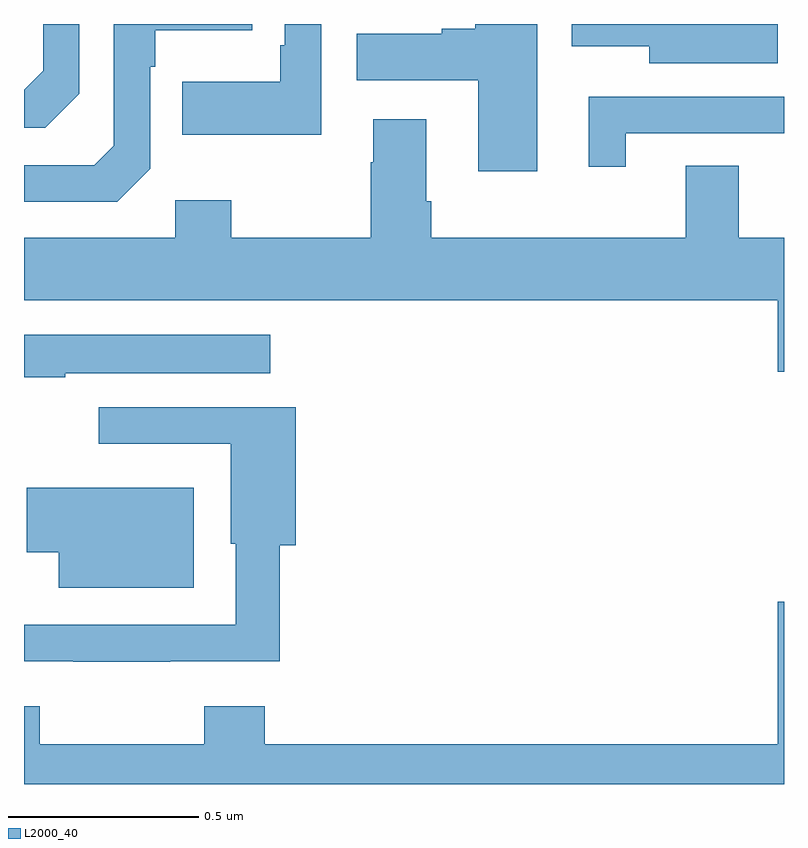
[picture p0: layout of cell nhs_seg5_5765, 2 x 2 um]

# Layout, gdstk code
import gdstk
lib = gdstk.Library(unit=1e-6, precision=1e-09)
def P(c, l, *ps):  # polygons
    for p in ps: c.add(gdstk.Polygon(p, *l))
L2000_40 = (2000, 40)

nhs_seg5_5765 = lib.new_cell('nhs_seg5_5765')
P(nhs_seg5_5765, L2000_40, [(188.983,878.799),(188.442,878.799),(188.442,878.741),(188.645,878.741),(188.645,878.696),(188.983,878.696)],
  [(187.782,878.799),(187.686,878.799),(187.686,878.743),(187.674,878.743),(187.674,878.647),(187.417,878.647),(187.417,878.507),(187.782,878.507)],
  [(188.35,878.799),(188.188,878.799),(188.188,878.786),(188.099,878.786),(188.099,878.773),(187.875,878.773),(187.875,878.651),(188.195,878.651),(188.195,878.412),(188.35,878.412)],
  [(187.332,878.418),(187.332,878.687),(187.345,878.687),(187.345,878.783),(187.601,878.783),(187.601,878.799),(187.236,878.799),(187.236,878.478),(187.185,878.427),(187,878.427),(187,878.331),(187.245,878.331)],
  [(187.146,878.616),(187.146,878.799),(187.05,878.799),(187.05,878.676),(187,878.626),(187,878.526),(187.056,878.526)],
  [(188.584,878.511),(189,878.511),(189,878.607),(188.486,878.607),(188.486,878.424),(188.584,878.424)],
  [(189,878.236),(188.881,878.236),(188.881,878.426),(188.741,878.426),(188.741,878.236),(188.072,878.236),(188.072,878.332),(188.059,878.332),(188.059,878.548),(187.919,878.548),(187.919,878.435),(187.912,878.435),(187.912,878.236),(187.545,878.236),(187.545,878.335),(187.398,878.335),(187.398,878.236),(187,878.236),(187,878.072),(188.984,878.072),(188.984,877.884),(189,877.884)],
  [(187.109,877.88),(187.648,877.88),(187.648,877.981),(187,877.981),(187,877.87),(187.109,877.87)],
  [(187.385,877.122),(187.673,877.122),(187.673,877.427),(187.715,877.427),(187.715,877.791),(187.197,877.791),(187.197,877.695),(187.544,877.695),(187.544,877.431),(187.557,877.431),(187.557,877.218),(187,877.218),(187,877.122),(187.129,877.122),(187.129,877.121),(187.385,877.121)],
  [(187.447,877.579),(187.007,877.579),(187.007,877.409),(187.091,877.409),(187.091,877.316),(187.447,877.316)],
  [(189,877.279),(188.984,877.279),(188.984,876.904),(187.634,876.904),(187.634,877.003),(187.474,877.003),(187.474,876.904),(187.041,876.904),(187.041,877.003),(187,877.003),(187,876.799),(189,876.799)])

lib.write_gds('nhs_seg5_5765.gds')
